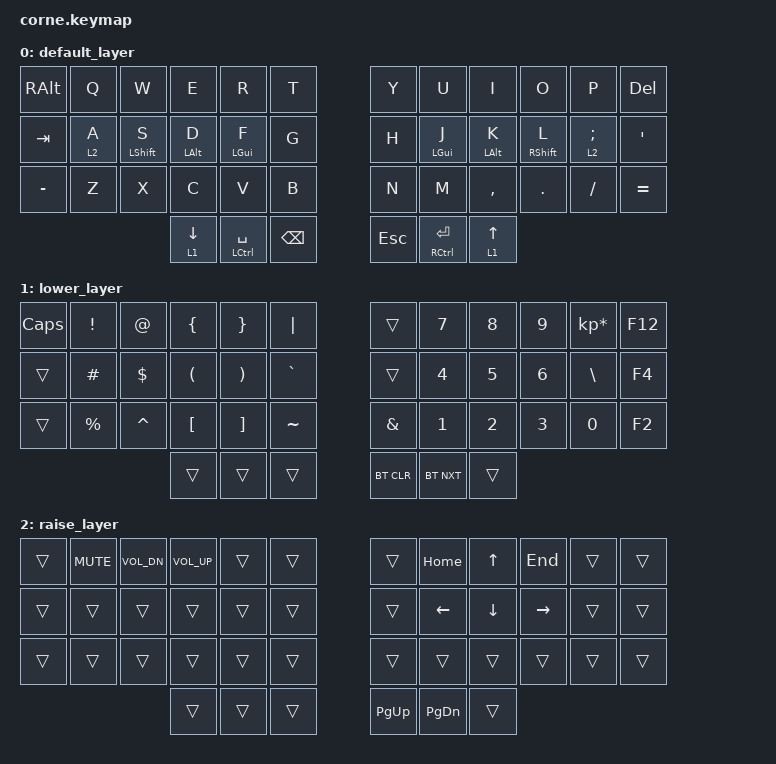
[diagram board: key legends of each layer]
/*
 * Copyright (c) 2020 The ZMK Contributors
 *
 * SPDX-License-Identifier: MIT
 */

#include <behaviors.dtsi>
#include <dt-bindings/zmk/keys.h>
#include <dt-bindings/zmk/bt.h>

/ {
        keymap {
                compatible = "zmk,keymap";

                default_layer {
                        bindings = <
   &kp RALT  &kp Q   &kp W       &kp E      &kp R          &kp T                                &kp Y       &kp U        &kp I      &kp O       &kp P      &kp DEL
   &kp TAB   &lt 2 A &mt LSHFT S &mt LALT D &mt LGUI F    &kp G                                &kp H       &mt LGUI J  &mt LALT K &mt RSHFT L &lt 2 SEMI   &kp SQT
   &kp MINUS &kp Z   &kp X       &kp C      &kp V          &kp B                                &kp N       &kp M        &kp COMMA  &kp DOT     &kp FSLH   &kp EQUAL
                                 &lt 1 DOWN &mt LCTRL SPACE &kp BSPC                             &kp ESC     &mt RCTRL RET &lt 1 UP
                        >;
                };
                lower_layer {
                        bindings = <
   &kp CAPS &kp EXCL  &kp AT    &kp LBRC &kp RBRC &kp PIPE                                      &trans      &kp N7       &kp N8 &kp N9 &kp KP_MULTIPLY &kp F12
   &trans   &kp HASH  &kp DLLR  &kp LPAR &kp RPAR &kp GRAVE                                     &trans      &kp N4       &kp N5 &kp N6 &kp BSLH        &kp F4
   &trans   &kp PRCNT &kp CARET &kp LBKT &kp RBKT &kp TILDE                                     &kp AMPS    &kp N1       &kp N2 &kp N3 &kp N0          &kp F2
                                &trans   &trans   &trans                                        &bt BT_CLR  &bt BT_NXT   &trans
                        >;
                };

                raise_layer {
                        bindings = <
   &trans &kp C_MUTE    &kp C_VOL_DN    &kp C_VOL_UP    &trans          &trans                  &trans      &kp HOME     &kp UP   &kp END   &trans &trans
   &trans &trans        &trans          &trans          &trans          &trans                  &trans      &kp LEFT     &kp DOWN &kp RIGHT &trans &trans
   &trans &trans        &trans          &trans          &trans          &trans                  &trans      &trans       &trans   &trans    &trans &trans
                                        &trans          &trans          &trans                  &kp PG_UP   &kp PG_DN    &trans
                        >;
                };
        };
};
